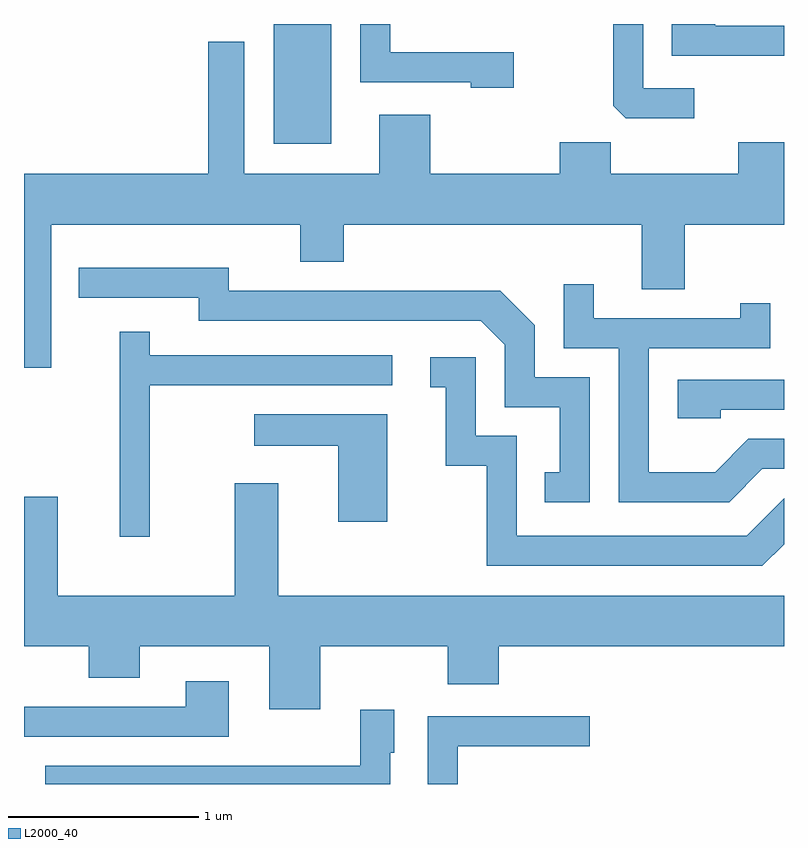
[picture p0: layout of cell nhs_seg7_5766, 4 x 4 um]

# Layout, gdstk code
import gdstk
lib = gdstk.Library(unit=1e-6, precision=1e-09)
def R(c, l, rs):  # rectangles x0, y0, x1, y1
    for r in rs: c.add(gdstk.rectangle(r[:2], r[2:], *l))
def P(c, l, *ps):  # polygons
    for p in ps: c.add(gdstk.Polygon(p, *l))
L2000_40 = (2000, 40)

nhs_seg7_5766 = lib.new_cell('nhs_seg7_5766')
R(nhs_seg7_5766, L2000_40, [(362.926,1723.621,363.229,1724.252)])
P(nhs_seg7_5766, L2000_40, [(365.138,1723.914),(364.869,1723.914),(364.869,1724.252),(364.711,1724.252),(364.711,1723.822),(364.777,1723.756),(365.138,1723.756)],
  [(365.611,1724.244),(365.249,1724.244),(365.249,1724.252),(365.021,1724.252),(365.021,1724.086),(365.611,1724.086)],
  [(364.189,1724.104),(363.539,1724.104),(363.539,1724.252),(363.381,1724.252),(363.381,1723.946),(363.961,1723.946),(363.961,1723.916),(364.189,1723.916)],
  [(361.754,1723.196),(363.066,1723.196),(363.066,1723.001),(363.294,1723.001),(363.294,1723.196),(364.861,1723.196),(364.861,1722.856),(365.089,1722.856),(365.089,1723.196),(365.611,1723.196),(365.611,1723.629),(365.371,1723.629),(365.371,1723.464),(364.699,1723.464),(364.699,1723.629),(364.431,1723.629),(364.431,1723.464),(363.749,1723.464),(363.749,1723.774),(363.481,1723.774),(363.481,1723.464),(362.769,1723.464),(362.769,1724.159),(362.581,1724.159),(362.581,1723.464),(361.611,1723.464),(361.611,1722.443),(361.754,1722.443)],
  [(364.589,1722.394),(364.299,1722.394),(364.299,1722.667),(364.117,1722.849),(362.689,1722.849),(362.689,1722.969),(361.898,1722.969),(361.898,1722.811),(362.531,1722.811),(362.531,1722.691),(364.014,1722.691),(364.141,1722.564),(364.141,1722.236),(364.431,1722.236),(364.431,1721.894),(364.353,1721.894),(364.353,1721.736),(364.589,1721.736)],
  [(365.497,1721.911),(365.611,1721.911),(365.611,1722.069),(365.424,1722.069),(365.249,1721.894),(364.899,1721.894),(364.899,1722.546),(365.539,1722.546),(365.539,1722.783),(365.381,1722.783),(365.381,1722.704),(364.609,1722.704),(364.609,1722.883),(364.451,1722.883),(364.451,1722.546),(364.741,1722.546),(364.741,1721.736),(365.322,1721.736)],
  [(362.274,1722.351),(363.548,1722.351),(363.548,1722.509),(362.274,1722.509),(362.274,1722.633),(362.116,1722.633),(362.116,1721.553),(362.274,1721.553)],
  [(365.611,1721.515),(365.611,1721.756),(365.414,1721.559),(364.204,1721.559),(364.204,1722.084),(363.989,1722.084),(363.989,1722.499),(363.748,1722.499),(363.748,1722.341),(363.831,1722.341),(363.831,1721.926),(364.046,1721.926),(364.046,1721.401),(365.497,1721.401)],
  [(365.279,1722.221),(365.611,1722.221),(365.611,1722.379),(365.051,1722.379),(365.051,1722.176),(365.279,1722.176)],
  [(363.524,1722.199),(362.823,1722.199),(362.823,1722.031),(363.266,1722.031),(363.266,1721.631),(363.524,1721.631)],
  [(363.169,1720.976),(363.841,1720.976),(363.841,1720.776),(364.109,1720.776),(364.109,1720.976),(365.611,1720.976),(365.611,1721.244),(362.949,1721.244),(362.949,1721.834),(362.721,1721.834),(362.721,1721.244),(361.789,1721.244),(361.789,1721.764),(361.611,1721.764),(361.611,1720.976),(361.951,1720.976),(361.951,1720.811),(362.219,1720.811),(362.219,1720.976),(362.901,1720.976),(362.901,1720.646),(363.169,1720.646)],
  [(362.689,1720.794),(362.461,1720.794),(362.461,1720.659),(361.611,1720.659),(361.611,1720.501),(362.689,1720.501)],
  [(363.539,1720.416),(363.559,1720.416),(363.559,1720.644),(363.381,1720.644),(363.381,1720.349),(361.723,1720.349),(361.723,1720.252),(363.539,1720.252)],
  [(363.894,1720.451),(364.588,1720.451),(364.588,1720.609),(363.736,1720.609),(363.736,1720.252),(363.894,1720.252)])

lib.write_gds('nhs_seg7_5766.gds')
